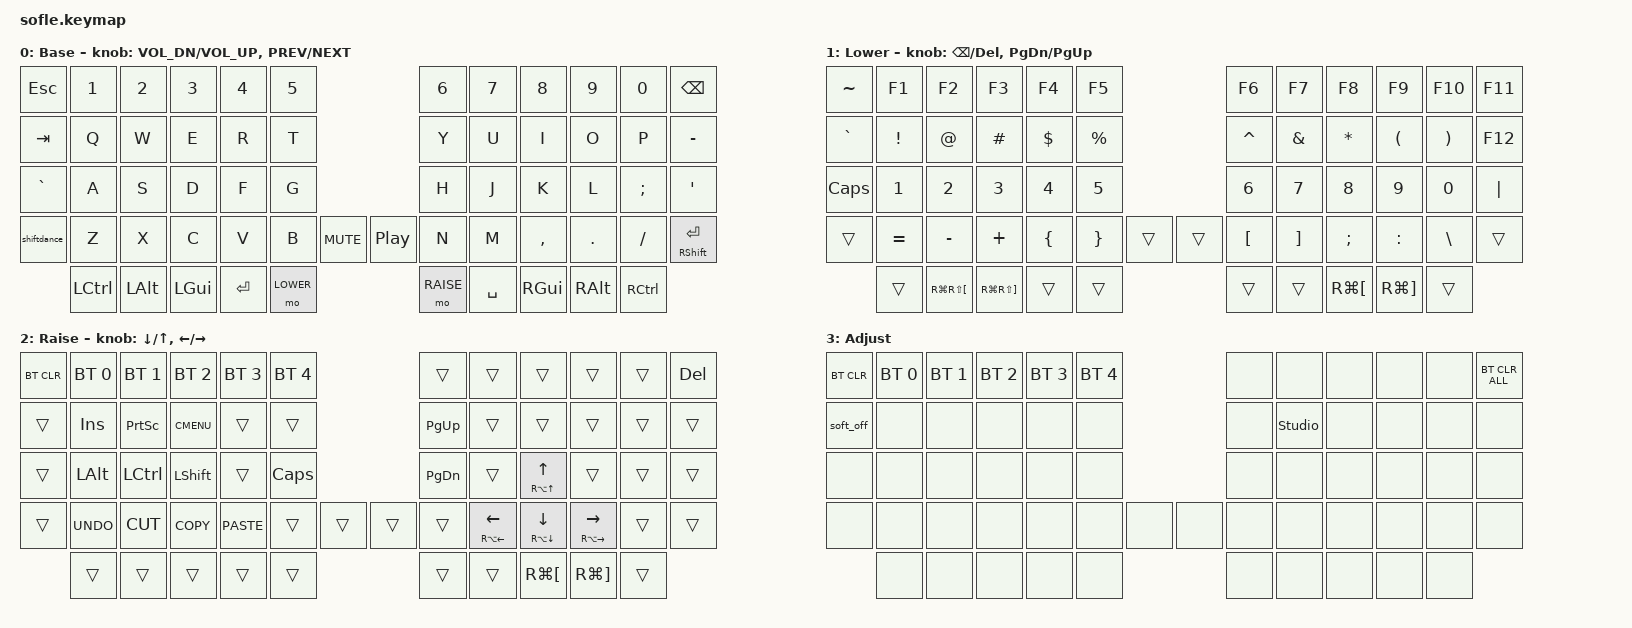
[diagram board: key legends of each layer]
/*
 * Copyright (c) 2020 The ZMK Contributors
 *
 * SPDX-License-Identifier: MIT
 */

#include <behaviors.dtsi>
#include <dt-bindings/zmk/keys.h>
#include <dt-bindings/zmk/bt.h>
#include <dt-bindings/zmk/rgb.h>
#include <dt-bindings/zmk/ext_power.h>

#define BASE 0
#define LOWER 1
#define RAISE 2
#define ADJUST 3

/ {

   // Activate ADJUST layer by pressing raise and lower
    conditional_layers {
        compatible = "zmk,conditional-layers";
        adjust_layer {
            if-layers = <LOWER RAISE>;
            then-layer = <ADJUST>;
        };
    };

    behaviors {
        shiftdance: shiftdance{
            compatible = "zmk,behavior-tap-dance";
            #binding-cells = <0>;
            tapping-term-ms = <200>;
            bindings = <&kp LSHIFT>, <&kp CAPSLOCK>;
    };
};


    //&soft_off {
    //hold-time-ms = <3000>; // Only turn off it the key is held for 3 seconds or longer.
    //};

    keymap {
        compatible = "zmk,keymap";

        default_layer {
            display-name = "Base";
// ------------------------------------------------------------------------------------------------------------
// |    `    |    1    |    2    |    3    |    4    |    5    |                    |    6    |    7    |    8    |    9    |    0    |  BKSPC  |
// |   ESC   |    Q    |    W    |    E    |    R    |    T    |                    |    Y    |    U    |    I    |    O    |    P    |    -    |
// |   TAB   |    A    |    S    |    D    |    F    |    G    |                    |    H    |    J    |    K    |    L    |    ;    |    '    |
// |  SHIFT  |    Z    |    X    |    C    |    V    |    B    |  MUTE  |   |  PLAY |    N    |    M    |    ,    |    .    |    /    |  SHIFT  |
//                     |   CTRL  |   ALT   |   GUI   |  LOWER  |  ENTER |   | SPACE |  RAISE  |   GUI   |   ALT   |   CTRL  |
            bindings = <
&kp ESC        &kp N1    &kp N2    &kp N3    &kp N4     &kp N5                         &kp N6   &kp N7    &kp N8    &kp N9    &kp N0   &kp BSPC
&kp TAB        &kp Q     &kp W     &kp E     &kp R      &kp T                          &kp Y     &kp U    &kp I     &kp O     &kp P    &kp MINUS
&kp GRAVE      &kp A     &kp S     &kp D     &kp F      &kp G                          &kp H     &kp J    &kp K     &kp L     &kp SEMI &kp SQT
&shiftdance &kp Z     &kp X     &kp C     &kp V      &kp B   &kp C_MUTE   &kp C_PP  &kp N     &kp M    &kp COMMA &kp DOT   &kp FSLH &mt RSHFT RET
                         &kp LCTRL &kp LALT  &kp LGUI   &kp RET &mo LOWER   &mo RAISE &kp SPACE &kp RGUI &kp RALT  &kp RCTRL
            >;
            
            sensor-bindings = <&inc_dec_kp C_VOL_DN C_VOL_UP &inc_dec_kp C_PREV C_NEXT>;
        };

        lower_layer {
            display-name = "Lower";
// TODO: Some binds are waiting for shifted keycode support.
// ------------------------------------------------------------------------------------------------------------
// |    ~    |    F1   |    F2   |    F3   |    F4   |    F5   |                   |    F6    |    F7    |    F8    |    F9    |    F10   |    F11   |
// |    `    |    !    |    @    |    #    |    $    |    %    |                   |    ^     |    &     |    *     |    (     |     )    |    F12   |
// |   ___   |    1    |    2    |    3    |    4    |    5    |                   |    6     |    7     |    8     |    9     |     0    |     |    |     
// |   ___   |    =    |    -    |    +    |    {    |    }    |        |  |       |    [     |    ]     |    ;     |    :     |     \    |          |
//                     |         |         |         |         |        |  |       |          |          |          |          |
            bindings = <
&kp TILDE      &kp F1     &kp F2    &kp F3    &kp F4    &kp F5                        &kp F6     &kp F7    &kp F8      &kp F9    &kp F10    &kp F11
&kp GRAVE      &kp EXCL   &kp AT    &kp HASH  &kp DLLR  &kp PRCNT                     &kp CARET  &kp AMPS  &kp ASTRK   &kp LPAR  &kp RPAR   &kp F12
&kp CLCK         &kp N1     &kp N2    &kp N3    &kp N4    &kp N5                        &kp N6     &kp N7    &kp N8      &kp N9    &kp N0     &kp PIPE
&trans         &kp EQUAL  &kp MINUS &kp PLUS  &kp LBRC  &kp RBRC   &trans   &trans    &kp LBKT   &kp RBKT  &kp SEMI    &kp COLON &kp BSLH   &trans
                &trans  &kp RG(RS(LBKT)) &kp RG(RS(RBKT)) &trans   &trans   &trans    &trans     &kp RG(LBKT)   &kp RG(RBKT)   &trans
            >;

            sensor-bindings = <&inc_dec_kp BSPC DEL &inc_dec_kp PG_DN PG_UP>;
        };

        raise_layer {
            display-name = "Raise";
// ------------------------------------------------------------------------------------------------------------
// | BTCLR | BT1  | BT2  |  BT3  |  BT4  |  BT5 |                |      |      |       |      |       |  DEL  |
// |       | INS  | PSCR | GUI   |       |      |                | PGUP |      |   ^   |      |       |       |
// |       | ALT  | CTRL | SHIFT |       | CAPS |                | PGDN |   <- |   v   |  ->  |       |       |
// |       | UNDO | CUT  | COPY  | PASTE |      |      |  |      |      |      |       |      |       |       |
//                |      |       |       |      |      |  |      |      |      |       |      |
            bindings = <
&bt BT_CLR &bt BT_SEL 0 &bt BT_SEL 1 &bt BT_SEL 2 &bt BT_SEL 3 &bt BT_SEL 4                  &trans    &trans    &trans   &trans    &trans  &kp DEL
&trans     &kp INS      &kp PSCRN    &kp K_CMENU  &trans       &trans                        &kp PG_UP &trans    &trans   &trans    &trans  &trans
&trans     &kp LALT     &kp LCTRL    &kp LSHFT    &trans       &kp CLCK                      &kp PG_DN &trans    &mt RA(UP) UP   &trans    &trans  &trans
&trans     &kp K_UNDO   &kp K_CUT    &kp K_COPY   &kp K_PASTE  &trans     &trans   &trans    &trans    &mt RA(LEFT) LEFT  &mt RA(DOWN) DOWN &mt RA(RIGHT) RIGHT &trans  &trans
                        &trans       &trans       &trans       &trans     &trans   &trans    &trans    &kp RG(LBKT)   &kp RG(RBKT)   &trans
            >;

            sensor-bindings = <&inc_dec_kp DOWN UP &inc_dec_kp LEFT RIGHT>;
        };

        adjust_layer {
            display-name = "Adjust";
// ----------------------------------------------------------------------------------------------------------------------------
// | BTCLR  |  BT1    |  BT2    |   BT3   |   BT4   |   BT5   |                  |      |             |       |      |       |BT CLR ALL|
// | EXTPWR |         |         |         |         |         |                  |      |Studio Unlock|       |      |       |       |
// |        |         |         |         |         |         |                  |      |             |       |      |       |       |
// |        |         |         |         |         |         |         | |      |      |             |       |      |       |       |
//                    |         |         |         |         |         | |      |      |             |       |      |
            bindings = <
&bt BT_CLR   &bt BT_SEL 0   &bt BT_SEL 1   &bt BT_SEL 2   &bt BT_SEL 3   &bt BT_SEL 4                   &none &none &none &none &none &bt BT_CLR_ALL
&soft_off         &none     &none           &none           &none           &none                       &none &studio_unlock &none &none &none &none
&none             &none     &none           &none           &none           &none                       &none &none &none &none &none &none
&none             &none     &none           &none           &none           &none     &none      &none  &none &none &none &none &none &none
                            &none           &none           &none           &none     &none      &none  &none &none &none &none
            >;
        };

    };
};
